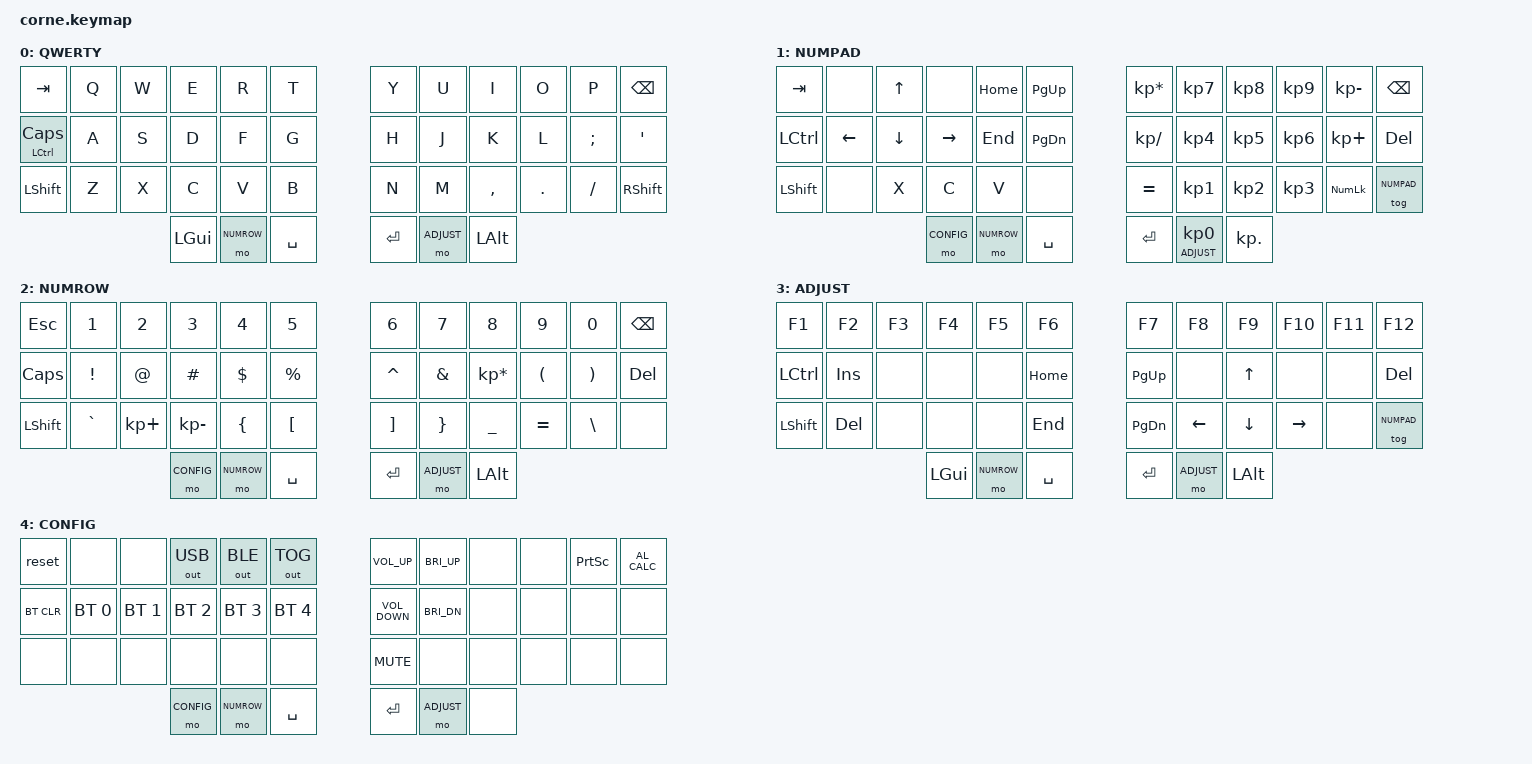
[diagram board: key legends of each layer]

#include <behaviors.dtsi>
#include <dt-bindings/zmk/keys.h>
#include <dt-bindings/zmk/bt.h>
#include <dt-bindings/zmk/outputs.h>

#define QWERTY 0
#define NUMPAD 1
#define NUMROW 2
#define ADJUST 3
#define CONFIG 4



/ {
        keymap {
                compatible = "zmk,keymap";


                default_layer {	
// -------------------------------------------------------------------------------
// | TAB  |  Q  |  W  |  E  |  R  |  T  |   |  Y  |  U  |  I  |  O  |  P  | BKSP |
// | CTRL |  A  |  S  |  D  |  F  |  G  |   |  H  |  J  |  K  |  L  |  ;  |  '   |
// | SHFT |  Z  |  X  |  C  |  V  |  B  |   |  N  |  M  |  ,  |  .  |  /  | SHFT |
//                    | GUI | NROW| SPC |   | ENT | ADJ | ALT |

                        label = "QWERTY";
                        bindings = <
   &kp TAB   	 &kp Q 		&kp W 		&kp E 		&kp R 		&kp T		&kp Y		&kp U 		&kp I    		&kp O   		&kp P    		&kp BKSP
   &mt LCTL CAPS &kp A 		&kp S 		&kp D 		&kp F 		&kp G		&kp H 		&kp J 		&kp K    		&kp L   		&kp SEMI 		&kp SQT
   &kp LSHFT 	 &kp Z 		&kp X 		&kp C 		&kp V 		&kp B    	&kp N 		&kp M 		&kp COMMA 		&kp DOT 		&kp FSLH 		&kp RSHFT
						&kp LGUI 	&mo NUMROW      &kp SPC 	&kp ENTER 	&mo ADJUST 	&kp LALT
                        >;
                };


                numpad_layer {
// ------------------------------------------------------------------------------
// | TAB  |     |     |     |     |     |   |  *  |  7  |  8  |  9  |  -  | BKSP |
// | CTRL |     |     |     |     |     |   |  /  |  4  |  5  |  6  |  +  | DEL  |
// | SHFT |     |     |     |     |     |   |  =  |  1  |  2  |  3  |     | tgNUM|
//                    |CONFG|     | SPC |   | ENT |ADJ/0|  .  |
	
                        label = "NUMPAD";
                        bindings = < 
   &kp TAB     	&none 		&kp UP		&none 		&kp HOME	&kp PG_UP	&kp KP_ASTERISK	&kp KP_N7 	 &kp KP_N8 	&kp KP_N9 	&kp KP_MINUS	 &kp BSPC
   &kp LCTL 	&kp LEFT 	&kp DOWN  	&kp RIGHT 	&kp END 	&kp PG_DN	&kp KP_SLASH	&kp KP_N4 	 &kp KP_N5 	&kp KP_N6 	&kp KP_PLUS 	 &kp DEL
   &kp LSHFT 	&none 		&kp X 		&kp C 		&kp V 		&none    	&kp EQUAL	&kp KP_N1 	 &kp KP_N2 	&kp KP_N3 	&kp KP_NLCK	 &tog NUMPAD
						&mo CONFIG 	&mo NUMROW      &kp SPC 	&kp ENTER 	&lt ADJUST KP_N0 &kp KP_DOT
                        >;
                }; 


                numrow_layer {	
// ------------------------------------------------------------------------------
// | ESC  |  1  |  2  |  3  |  4  |  5  |   |  6  |  7  |  8  |  9  |  0  | BKSP |
// | CAPS |  !  |  @  |  #  |  $  |  %  |   |  ^  |  &  |  *  |  (  |  )  | DEL  |
// | SHFT |  `  |  +  |  -  |  {  |  [  |   |  ]  |  }  |  _  |  =  |  \  |      |
//                    |CONFG|PUSH | SPC |   | ENT | ADJ | ALT |

                        label = "NUMROW";
                        bindings = <
   &kp ESC   	&kp N1 		&kp N2 		&kp N3  	&kp N4 		&kp N5  		&kp N6                 &kp N7			&kp N8 			&kp N9    		&kp N0   	&kp BSPC
   &kp CAPS  	&kp EXCL	&kp AT  	&kp HASH  	&kp DLLR 	&kp PRCNT 		&kp CARET  	       &kp AMPS	                &kp KP_MULTIPLY	        &kp LPAR		&kp RPAR	&kp DEL
   &kp LSHFT 	&kp GRAVE 	&kp KP_PLUS	&kp KP_MINUS	&kp LEFT_BRACE	&kp LEFT_BRACKET  	&kp RIGHT_BRACKET      &kp RIGHT_BRACE   	&kp UNDERSCORE          &kp EQUAL		&kp BACKSLASH  	&none
						&mo CONFIG 	&mo NUMROW  	&kp SPC 		&kp ENTER 	       &mo ADJUST 		&kp LALT
                        >;
                };


                adjust_layer {		
// ------------------------------------------------------------------------------
// |  F1  |  F2 | F3  |  F4 |  F5 |  F6 |   | F7  |  F8 | F9  | F10 | F11 |  F12 |
// | CTLR | INS |     |     |     | HOME|   |PG_UP|     | UP  |     |     |  DEL |
// | SHFT | DEL |     |     |     | END |   |PG_DN|LEFT | DWN | RGT |     | tgNUM|
//		      | GUI |     | SPC |   | ENT |PUSH | ALT |

                        label = "ADJUST";
                        bindings = <
   &kp F1	&kp F2  	&kp F3   	&kp F4    	&kp F5 		&kp F6    	&kp F7   	&kp F8   	&kp F9 		&kp F10   	&kp F11 	&kp F12
   &kp LCTL	&kp INS 	&none		&none	 	&none  		&kp HOME      	&kp PG_UP    	&none 	 	&kp UP 		&none 		&none   	&kp DEL
   &kp LSHFT	&kp DEL 	&none	  	&none		&none  		&kp END     	&kp PG_DN    	&kp LEFT 	&kp DOWN  	&kp RIGHT   	&none   	&tog NUMPAD
						&kp LGUI 	&mo NUMROW      &kp SPC    	&kp ENTER       &mo ADJUST 	&kp LALT
                        >;
                };

                    
                config_layer {			
// ------------------------------------------------------------------------------
// | RSET |     |     | USB | BLE |TOGLE|   |VOL+ |BRI+ |     |     |PSCRN| CALC |
// | BTCLR| BT0 | BT1 | BT2 | BT3 | BT4 |   |VOL- |BRI- |     |     |     |      |
// |      |     |     |     |     |     |   |MUTE |     |     |     |     |      |
//                    |PUSH |PUSH | SPC |   | ENT | ADJ |     |

                        label = "CONFIG";
                        bindings = <
   &reset     	&none        	&none        	&out OUT_USB    &out OUT_BLE    &out OUT_TOG    &kp C_VOLUME_UP 	&kp C_BRI_UP  	&none 		&none 		&kp PSCRN 	&kp C_AL_CALC
   &bt BT_CLR 	&bt BT_SEL 0 	&bt BT_SEL 1 	&bt BT_SEL 2 	&bt BT_SEL 3 	&bt BT_SEL 4    &kp C_VOLUME_DOWN 	&kp C_BRI_DN 	&none 		&none 		&none 		&none
   &none      	&none        	&none        	&none        	&none        	&none           &kp C_MUTE 		&none 		&none 		&none 		&none 		&none
                                                &mo CONFIG 	&mo NUMROW  	&kp SPC  	&kp ENTER 		&mo ADJUST 	&none 
                        >;
                };
        };
};


// ctrl+alt+del - &kp LC(LA(DEL))
